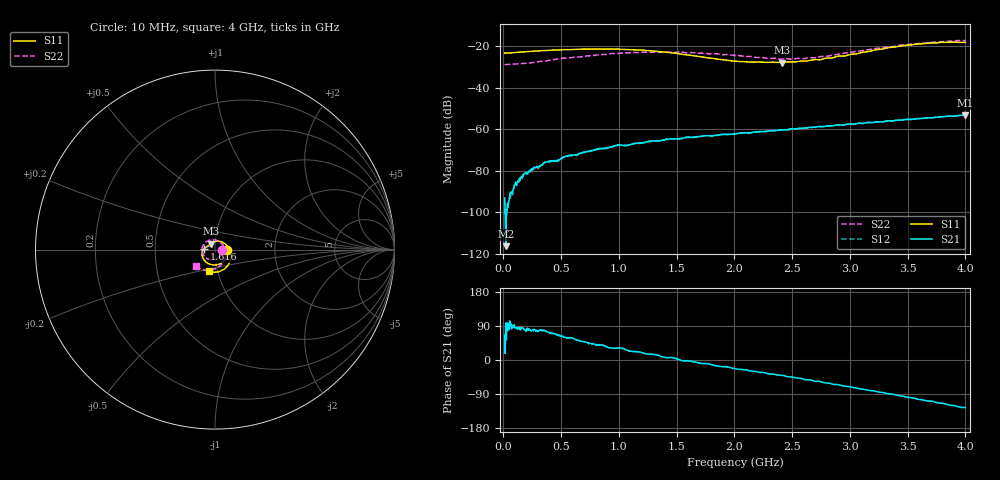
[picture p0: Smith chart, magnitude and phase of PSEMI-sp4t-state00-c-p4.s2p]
! 5/5/2016 4:47:31 PM
! C:\ANRITSUVNA\DATA\PSEMI-SP4T-STATE00-C-P4.S2P
! CHANNEL.1
! TR.MEASUREMENT
! CORRECTED.DATA
# GHZ S RI R 50.0
! FREQ.GHZ  S11RE  S11IM  S21RE  S21IM  S12RE  S12IM  S22RE  S22IM
!; PortSelection: Port_12
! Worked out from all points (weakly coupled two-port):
!   801 points, 10 MHz to 4 GHz, reference 50 ohm
!   highest |S21| = -53.16 dB at 4 GHz (marker M1); lowest = -116.4 dB at 19.98 MHz (marker M2)
!   lowest |S11| = -27.8 dB at 2.409 GHz (marker M3), VSWR 1.09, Z = 47.6 + j3.16 ohm
!   |S11| at or under -10 dB: start of sweep to end of sweep
!   |S22| runs from -28.8 to -17.1 dB; largest |S21 - S12| = 6.7e-05
!   S11 on the Smith chart (normalised r, x): 10 MHz: 1.15, -0.01; 1.616 GHz: 0.88, +0.01; 4 GHz: 0.91, -0.22
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0.01  0.0689 -0.00298  9.2e-06 2e-05  -1.9e-06 1.92e-05  0.0368 -0.00243
0.019975  0.0686 -0.00218  -2e-07 1.5e-06  -5.8e-06 1.02e-05  0.0365 -0.00187
0.22945  0.0665 -0.0361  1.74e-05 9.96e-05  2.24e-05 9.78e-05  0.0309 -0.0252
0.2743375  0.0635 -0.044  2.24e-05 0.00012  2.28e-05 0.000116  0.0281 -0.0305
0.3142375  0.0602 -0.0505  2.31e-05 0.000125  2.59e-05 0.000122  0.0257 -0.0348
0.3691  0.0543 -0.0591  3.86e-05 0.000156  3.37e-05 0.000162  0.021 -0.0397
0.46885  0.04 -0.0718  7.05e-05 0.000166  6.39e-05 0.000155  0.0122 -0.0478
0.5237125  0.032 -0.0775  0.000107 0.000183  0.000103 0.000189  0.00725 -0.0517
0.638425  0.0104 -0.0845  0.000147 0.000196  0.000146 0.000194  -0.00562 -0.0557
0.678325  0.0028 -0.0858  0.000177 0.000204  0.000182 0.000207  -0.0113 -0.0551
0.98755  -0.0501 -0.0699  0.000359 0.000219  0.000354 0.000203  -0.0478 -0.0477
1.062363  -0.059 -0.0599  0.000366 0.000183  0.00036 0.000175  -0.0552 -0.0426
1.157125  -0.0674 -0.0475  0.000432 0.000172  0.000432 0.000162  -0.0623 -0.0342
1.341662  -0.0719 -0.0227  0.000518 0.00011  0.00052 0.000117  -0.072 -0.0138
1.615975  -0.0611 0.00493  0.000645 -2.79e-05  0.000641 -2.99e-05  -0.0675 0.0212
2.005  -0.0399 0.019  0.000721 -0.000307  0.000703 -0.000302  -0.03 0.0526
2.408987  -0.024 0.0332  0.000738 -0.000636  0.000722 -0.00064  0.0262 0.0419
2.673325  0.0019 0.0474  0.000656 -0.000896  0.000668 -0.000905  0.0518 0.0119
2.957613  0.0443 0.0384  0.000461 -0.00121  0.000454 -0.0012  0.0585 -0.0373
3.336663  0.0891 -0.029  1.87e-05 -0.00159  2.69e-05 -0.00161  0.0228 -0.0956
3.690775  0.0512 -0.1091  -0.000585 -0.0018  -0.000629 -0.00179  -0.0454 -0.1144
4  -0.0331 -0.1213  -0.00128 -0.00179  -0.0013 -0.00175  -0.1066 -0.09
